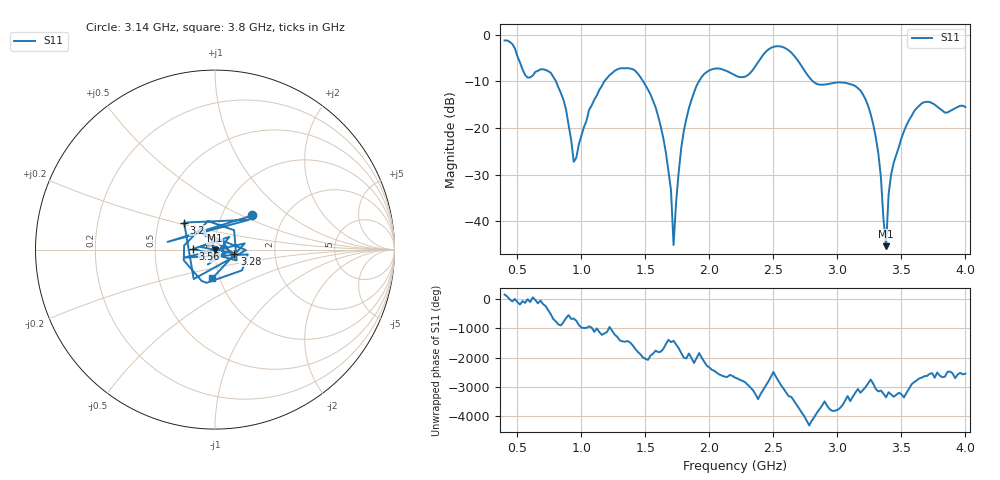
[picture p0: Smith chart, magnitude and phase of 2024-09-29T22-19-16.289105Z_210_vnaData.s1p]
!Created with skrf (http://scikit-rf.org).
# Hz S RI R 50.0
!freq ReS11 ImS11
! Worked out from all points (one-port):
!   181 points, 400 MHz to 4 GHz, reference 50 ohm
!   lowest |S11| = -45.4 dB at 3.38 GHz (marker M1), VSWR 1.01, Z = 49.8 - j0.486 ohm
!   |S11| at or under -10 dB: 801.4 MHz to 1.179 GHz (377.6 MHz wide, 38.1 % of centre); 1.482 GHz to 1.918 GHz (435.9 MHz wide, 25.6 % of centre); 2.81 GHz to end of sweep
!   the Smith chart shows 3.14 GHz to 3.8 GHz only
!   S11 on the Smith chart (normalised r, x): 3.14 GHz: 1.39, +0.57; 3.2 GHz: 0.68, +0.22; 3.28 GHz: 1.24, -0.06; 3.56 GHz: 0.78, +0.01; 3.8 GHz: 0.92, -0.30
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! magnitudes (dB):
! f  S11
! 400 MHz  -1.2
! 760 MHz  -8.1
! 860 MHz  -14.0
! 940 MHz  -27.3
! 1.06 GHz  -16.1
! 1.3 GHz  -7.2
! 1.44 GHz  -8.3
! 1.58 GHz  -15.6
! 1.7 GHz  -33.4
! 1.72 GHz  -45.1
! 1.76 GHz  -29.5
! 1.82 GHz  -18.0
! 1.92 GHz  -9.9
! 2.2 GHz  -8.7
! 2.5 GHz  -2.6
! 2.66 GHz  -4.4
! 2.84 GHz  -10.6
! 3.1 GHz  -10.6
! 3.14 GHz  -11.0
! 3.2 GHz  -12.8
! 3.28 GHz  -19.2
! 3.34 GHz  -30.6
! 3.38 GHz  -45.4
! 3.4 GHz  -34.3
! 3.42 GHz  -29.9
! 3.56 GHz  -18.3
! 3.8 GHz  -15.8
! 4 GHz  -15.5
